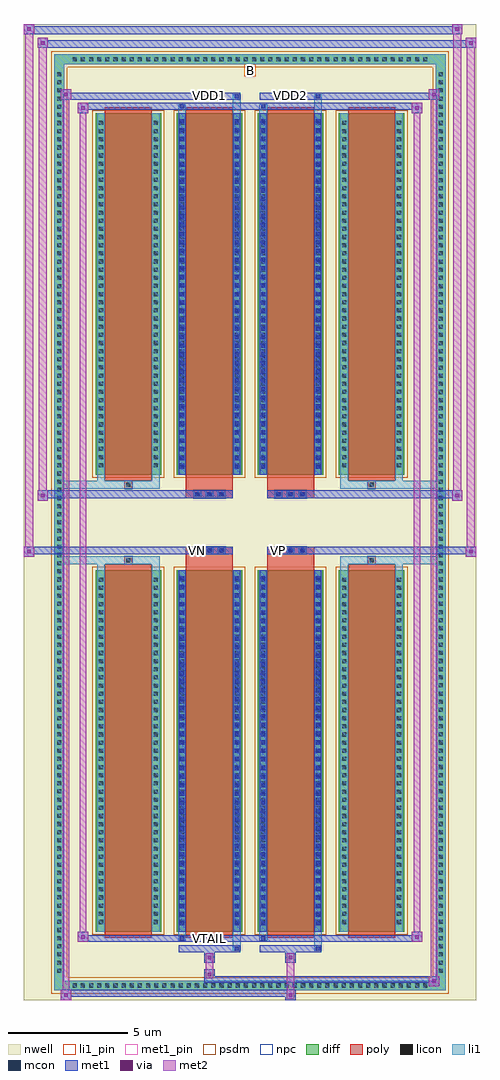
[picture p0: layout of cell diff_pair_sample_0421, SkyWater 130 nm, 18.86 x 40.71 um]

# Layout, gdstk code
import gdstk
lib = gdstk.Library(unit=1e-6, precision=5e-09)
def R(c, l, rs):  # rectangles x0, y0, x1, y1
    for r in rs: c.add(gdstk.rectangle(r[:2], r[2:], *l))
def A(c, l, x, y, w, h, nx, ny, dx, dy):  # array of equal rectangles
    R(c, l, [(x+i*dx, y+j*dy, x+i*dx+w, y+j*dy+h) for i in range(nx) for j in range(ny)])
def P(c, l, *ps):  # polygons
    for p in ps: c.add(gdstk.Polygon(p, *l))
nwell = (64, 20)
diff = (65, 20)
poly = (66, 20)
licon = (66, 44)
li1_pin = (67, 16)
li1 = (67, 20)
mcon = (67, 44)
met1_pin = (68, 16)
met1 = (68, 20)
via = (68, 44)
met2 = (69, 20)
psdm = (94, 20)
npc = (95, 20)

diff_pair_sample_0421 = lib.new_cell('diff_pair_sample_0421')
R(diff_pair_sample_0421, nwell, [(-9.43,-19.92,9.43,20.79), (-6.75,-18.11,-0.01,-0.805), (0.01,-18.11,6.75,-0.805), (-6.75,0.805,-0.01,18.11), (0.01,0.805,6.75,18.11)])
A(diff_pair_sample_0421, diff, -7.515, -19.52, 0.41, 0.41, 44, 2, 0.34, 38.63)
A(diff_pair_sample_0421, diff, -8.16, -18.905, 0.41, 0.41, 1, 111, 0, 0.34)
A(diff_pair_sample_0421, diff, 7.75, -18.905, 0.41, 0.41, 1, 111, 0, 0.34)
A(diff_pair_sample_0421, diff, -6.44, -17.065, 2.74, 15.08, 4, 2, 3.38, 19.05)
R(diff_pair_sample_0421, diff, [(-7.515,-19.52,7.515,-19.11), (-8.16,-18.905,-7.75,18.905), (7.75,-18.905,8.16,18.905), (-7.515,19.11,7.515,19.52)])
P(diff_pair_sample_0421, diff, [(8.16,19.52),(-8.16,19.52),(-8.16,-19.11),(-7.75,-19.11),(-7.75,19.11),(7.75,19.11),(7.75,-19.11),(-7.75,-19.11),(-8.16,-19.11),(-8.16,-19.52),(8.16,-19.52)])
A(diff_pair_sample_0421, poly, -6.05, -17.315, 1.96, 15.58, 4, 2, 3.38, 19.05)
A(diff_pair_sample_0421, poly, -2.355, -1.335, 0.33, 0.33, 3, 2, 0.5, 2.34)
A(diff_pair_sample_0421, poly, 1.025, -1.335, 0.33, 0.33, 3, 2, 0.5, 2.34)
R(diff_pair_sample_0421, poly, [(-5.235,-1.735,-4.905,-1.405), (-5.235,-1.735,-4.905,-1.405), (-2.67,-1.735,-0.71,-1.335), (0.71,-1.735,2.67,-1.335), (4.905,-1.735,5.235,-1.405), (4.905,-1.735,5.235,-1.405), (-2.67,-1.335,-0.71,-1.005), (0.71,-1.335,2.67,-1.005), (-2.67,1.005,-0.71,1.335), (0.71,1.005,2.67,1.335), (-2.67,1.335,-0.71,1.735), (0.71,1.335,2.67,1.735), (-5.235,1.405,-4.905,1.735), (-5.235,1.405,-4.905,1.735), (4.905,1.405,5.235,1.735), (4.905,1.405,5.235,1.735)])
A(diff_pair_sample_0421, licon, -7.395, -19.4, 0.17, 0.17, 44, 2, 0.34, 38.63)
A(diff_pair_sample_0421, licon, -8.04, -18.785, 0.17, 0.17, 1, 111, 0, 0.34)
A(diff_pair_sample_0421, licon, 7.87, -18.785, 0.17, 0.17, 1, 111, 0, 0.34)
A(diff_pair_sample_0421, licon, -6.3, -16.75, 0.17, 0.17, 1, 43, 0, 0.34)
A(diff_pair_sample_0421, licon, -4.01, -16.75, 0.17, 0.17, 1, 43, 0, 0.34)
A(diff_pair_sample_0421, licon, -2.92, -16.75, 0.17, 0.17, 1, 43, 0, 0.34)
A(diff_pair_sample_0421, licon, -0.63, -16.75, 0.17, 0.17, 1, 43, 0, 0.34)
A(diff_pair_sample_0421, licon, 0.46, -16.75, 0.17, 0.17, 1, 43, 0, 0.34)
A(diff_pair_sample_0421, licon, 2.75, -16.75, 0.17, 0.17, 1, 43, 0, 0.34)
A(diff_pair_sample_0421, licon, 3.84, -16.75, 0.17, 0.17, 1, 43, 0, 0.34)
A(diff_pair_sample_0421, licon, 6.13, -16.75, 0.17, 0.17, 1, 43, 0, 0.34)
A(diff_pair_sample_0421, licon, -2.275, -1.255, 0.17, 0.17, 3, 2, 0.5, 2.34)
A(diff_pair_sample_0421, licon, 1.105, -1.255, 0.17, 0.17, 3, 2, 0.5, 2.34)
A(diff_pair_sample_0421, licon, -6.3, 2.3, 0.17, 0.17, 1, 43, 0, 0.34)
A(diff_pair_sample_0421, licon, -4.01, 2.3, 0.17, 0.17, 1, 43, 0, 0.34)
A(diff_pair_sample_0421, licon, -2.92, 2.3, 0.17, 0.17, 1, 43, 0, 0.34)
A(diff_pair_sample_0421, licon, -0.63, 2.3, 0.17, 0.17, 1, 43, 0, 0.34)
A(diff_pair_sample_0421, licon, 0.46, 2.3, 0.17, 0.17, 1, 43, 0, 0.34)
A(diff_pair_sample_0421, licon, 2.75, 2.3, 0.17, 0.17, 1, 43, 0, 0.34)
A(diff_pair_sample_0421, licon, 3.84, 2.3, 0.17, 0.17, 1, 43, 0, 0.34)
A(diff_pair_sample_0421, licon, 6.13, 2.3, 0.17, 0.17, 1, 43, 0, 0.34)
R(diff_pair_sample_0421, licon, [(-5.155,-1.655,-4.985,-1.485), (4.985,-1.655,5.155,-1.485), (-5.155,1.485,-4.985,1.655), (4.985,1.485,5.155,1.655)])
R(diff_pair_sample_0421, li1_pin, [(-0.25,18.61,0.25,19.11)])
A(diff_pair_sample_0421, li1, -7.475, -19.48, 0.33, 0.33, 44, 2, 0.34, 38.63)
A(diff_pair_sample_0421, li1, -8.12, -18.865, 0.33, 0.33, 1, 111, 0, 0.34)
A(diff_pair_sample_0421, li1, 7.79, -18.865, 0.33, 0.33, 1, 111, 0, 0.34)
A(diff_pair_sample_0421, li1, -6.38, -16.83, 0.33, 0.33, 1, 43, 0, 0.34)
A(diff_pair_sample_0421, li1, -4.09, -16.83, 0.33, 0.33, 1, 43, 0, 0.34)
A(diff_pair_sample_0421, li1, -3, -16.83, 0.33, 0.33, 1, 43, 0, 0.34)
A(diff_pair_sample_0421, li1, -0.71, -16.83, 0.33, 0.33, 1, 43, 0, 0.34)
A(diff_pair_sample_0421, li1, 0.38, -16.83, 0.33, 0.33, 1, 43, 0, 0.34)
A(diff_pair_sample_0421, li1, 2.67, -16.83, 0.33, 0.33, 1, 43, 0, 0.34)
A(diff_pair_sample_0421, li1, 3.76, -16.83, 0.33, 0.33, 1, 43, 0, 0.34)
A(diff_pair_sample_0421, li1, 6.05, -16.83, 0.33, 0.33, 1, 43, 0, 0.34)
A(diff_pair_sample_0421, li1, -2.92, -16.81, 0.17, 0.17, 1, 41, 0, 0.36)
A(diff_pair_sample_0421, li1, -0.63, -16.81, 0.17, 0.17, 1, 41, 0, 0.36)
A(diff_pair_sample_0421, li1, 0.46, -16.81, 0.17, 0.17, 1, 41, 0, 0.36)
A(diff_pair_sample_0421, li1, 2.75, -16.81, 0.17, 0.17, 1, 41, 0, 0.36)
A(diff_pair_sample_0421, li1, -2.355, -1.335, 0.33, 0.33, 3, 2, 0.5, 2.34)
A(diff_pair_sample_0421, li1, 1.025, -1.335, 0.33, 0.33, 3, 2, 0.5, 2.34)
A(diff_pair_sample_0421, li1, -6.38, 2.22, 0.33, 0.33, 1, 43, 0, 0.34)
A(diff_pair_sample_0421, li1, -4.09, 2.22, 0.33, 0.33, 1, 43, 0, 0.34)
A(diff_pair_sample_0421, li1, -3, 2.22, 0.33, 0.33, 1, 43, 0, 0.34)
A(diff_pair_sample_0421, li1, -0.71, 2.22, 0.33, 0.33, 1, 43, 0, 0.34)
A(diff_pair_sample_0421, li1, 0.38, 2.22, 0.33, 0.33, 1, 43, 0, 0.34)
A(diff_pair_sample_0421, li1, 2.67, 2.22, 0.33, 0.33, 1, 43, 0, 0.34)
A(diff_pair_sample_0421, li1, 3.76, 2.22, 0.33, 0.33, 1, 43, 0, 0.34)
A(diff_pair_sample_0421, li1, 6.05, 2.22, 0.33, 0.33, 1, 43, 0, 0.34)
A(diff_pair_sample_0421, li1, -2.92, 2.24, 0.17, 0.17, 1, 41, 0, 0.36)
A(diff_pair_sample_0421, li1, -0.63, 2.24, 0.17, 0.17, 1, 41, 0, 0.36)
A(diff_pair_sample_0421, li1, 0.46, 2.24, 0.17, 0.17, 1, 41, 0, 0.36)
A(diff_pair_sample_0421, li1, 2.75, 2.24, 0.17, 0.17, 1, 41, 0, 0.36)
R(diff_pair_sample_0421, li1, [(-8.16,-19.52,-7.75,-19.11), (-8.16,-19.52,-7.75,-19.11), (-7.75,-19.52,7.75,-19.11), (7.75,-19.52,8.16,-19.11), (7.75,-19.52,8.16,-19.11), (-8.16,-19.11,-7.75,19.11), (7.75,-19.11,8.16,19.11), (-0.71,-17.87,-0.38,-17.065), (-0.63,-17.87,-0.46,-17.7), (2.67,-17.87,3,-17.065), (2.75,-17.87,2.92,-17.7), (-3,-17.44,-2.67,-17.065), (-2.92,-17.44,-2.75,-17.27), (0.38,-17.44,0.71,-17.065), (0.46,-17.44,0.63,-17.27), (-6.38,-17.065,-6.05,-1.985), (-4.09,-17.065,-3.76,-1.985), (-3,-17.065,-2.67,-1.985), (-0.71,-17.065,-0.38,-1.985), (0.38,-17.065,0.71,-1.985), (2.67,-17.065,3,-1.985), (3.76,-17.065,4.09,-1.985), (6.05,-17.065,6.38,-1.985), (-2.92,-16.81,-2.75,-2.24), (-0.63,-16.81,-0.46,-2.24), (0.46,-16.81,0.63,-2.24), (2.75,-16.81,2.92,-2.24), (-6.38,-1.985,-6.05,-1.405), (-4.09,-1.985,-3.76,-1.405), (3.76,-1.985,4.09,-1.405), (6.05,-1.985,6.38,-1.405), (-8.16,-1.735,-5.235,-1.405), (-6.38,-1.735,-5.235,-1.405), (-5.235,-1.735,-4.905,-1.405), (-4.905,-1.735,-3.76,-1.405), (3.76,-1.735,4.905,-1.405), (4.905,-1.735,5.235,-1.405), (4.905,-1.735,8.16,-1.405), (5.235,-1.735,6.38,-1.405), (-8.16,1.405,-5.235,1.735), (-6.38,1.405,-5.235,1.735), (-6.38,1.405,-6.05,1.985), (-5.235,1.405,-4.905,1.735), (-4.905,1.405,-3.76,1.735), (-4.09,1.405,-3.76,1.985), (3.76,1.405,4.905,1.735), (3.76,1.405,4.09,1.985), (4.905,1.405,5.235,1.735), (4.905,1.405,8.16,1.735), (5.235,1.405,6.38,1.735), (6.05,1.405,6.38,1.985), (-6.38,1.985,-6.05,17.065), (-4.09,1.985,-3.76,17.065), (-3,1.985,-2.67,17.065), (-0.71,1.985,-0.38,17.065), (0.38,1.985,0.71,17.065), (2.67,1.985,3,17.065), (3.76,1.985,4.09,17.065), (6.05,1.985,6.38,17.065), (-2.92,2.24,-2.75,16.81), (-0.63,2.24,-0.46,16.81), (0.46,2.24,0.63,16.81), (2.75,2.24,2.92,16.81), (-3,17.065,-2.67,17.44), (-0.71,17.065,-0.38,17.87), (0.38,17.065,0.71,17.44), (2.67,17.065,3,17.87), (-2.92,17.27,-2.75,17.44), (0.46,17.27,0.63,17.44), (-0.63,17.7,-0.46,17.87), (2.75,17.7,2.92,17.87), (-8.16,19.11,-7.75,19.52), (-8.16,19.11,-7.75,19.52), (-7.75,19.11,7.75,19.52), (7.75,19.11,8.16,19.52), (7.75,19.11,8.16,19.52)])
A(diff_pair_sample_0421, mcon, -2.92, -16.81, 0.17, 0.17, 1, 41, 0, 0.36)
A(diff_pair_sample_0421, mcon, -0.63, -16.81, 0.17, 0.17, 1, 41, 0, 0.36)
A(diff_pair_sample_0421, mcon, 0.46, -16.81, 0.17, 0.17, 1, 41, 0, 0.36)
A(diff_pair_sample_0421, mcon, 2.75, -16.81, 0.17, 0.17, 1, 41, 0, 0.36)
A(diff_pair_sample_0421, mcon, -2.275, -1.255, 0.17, 0.17, 3, 2, 0.5, 2.34)
A(diff_pair_sample_0421, mcon, 1.105, -1.255, 0.17, 0.17, 3, 2, 0.5, 2.34)
A(diff_pair_sample_0421, mcon, -2.92, 2.24, 0.17, 0.17, 1, 41, 0, 0.36)
A(diff_pair_sample_0421, mcon, -0.63, 2.24, 0.17, 0.17, 1, 41, 0, 0.36)
A(diff_pair_sample_0421, mcon, 0.46, 2.24, 0.17, 0.17, 1, 41, 0, 0.36)
A(diff_pair_sample_0421, mcon, 2.75, 2.24, 0.17, 0.17, 1, 41, 0, 0.36)
R(diff_pair_sample_0421, mcon, [(-0.63,-17.87,-0.46,-17.7), (2.75,-17.87,2.92,-17.7), (-2.92,-17.44,-2.75,-17.27), (0.46,-17.44,0.63,-17.27), (-2.92,17.27,-2.75,17.44), (0.46,17.27,0.63,17.44), (-0.63,17.7,-0.46,17.87), (2.75,17.7,2.92,17.87)])
R(diff_pair_sample_0421, met1_pin, [(-1.825,-17.48,-1.555,-17.21), (-2.325,-1.295,-2.055,-1.025), (1.055,-1.295,1.325,-1.025), (-1.825,17.66,-1.555,17.93), (1.555,17.66,1.825,17.93)])
A(diff_pair_sample_0421, met1, -2.98, -16.87, 0.29, 0.29, 1, 41, 0, 0.36)
A(diff_pair_sample_0421, met1, -0.69, -16.87, 0.29, 0.29, 1, 41, 0, 0.36)
A(diff_pair_sample_0421, met1, 0.4, -16.87, 0.29, 0.29, 1, 41, 0, 0.36)
A(diff_pair_sample_0421, met1, 2.69, -16.87, 0.29, 0.29, 1, 41, 0, 0.36)
A(diff_pair_sample_0421, met1, -2.335, -1.315, 0.29, 0.29, 3, 2, 0.5, 2.34)
A(diff_pair_sample_0421, met1, 1.045, -1.315, 0.29, 0.29, 3, 2, 0.5, 2.34)
A(diff_pair_sample_0421, met1, -2.98, 2.18, 0.29, 0.29, 1, 41, 0, 0.36)
A(diff_pair_sample_0421, met1, -0.69, 2.18, 0.29, 0.29, 1, 41, 0, 0.36)
A(diff_pair_sample_0421, met1, 0.4, 2.18, 0.29, 0.29, 1, 41, 0, 0.36)
A(diff_pair_sample_0421, met1, 2.69, 2.18, 0.29, 0.29, 1, 41, 0, 0.36)
R(diff_pair_sample_0421, met1, [(-7.89,-19.92,-7.46,-19.49), (1.475,-19.92,1.905,-19.49), (-7.89,-19.78,1.905,-19.49), (7.46,-19.35,7.89,-18.92), (-1.905,-19.21,7.89,-18.92), (-1.905,-19.07,-1.475,-18.64), (-1.905,-18.36,-1.475,-17.93), (1.475,-18.36,1.905,-17.93), (-2.98,-17.93,-0.4,-17.64), (-0.69,-17.93,-0.4,-17.64), (0.4,-17.93,2.98,-17.64), (2.69,-17.93,2.98,-17.64), (-7.18,-17.5,-6.75,-17.07), (-7.18,-17.5,-2.98,-17.21), (-2.98,-17.5,-2.69,-17.21), (-2.98,-17.5,-0.4,-17.21), (-0.4,-17.5,0.4,-17.21), (0.4,-17.5,0.69,-17.21), (0.4,-17.5,2.98,-17.21), (2.98,-17.5,7.18,-17.21), (6.75,-17.5,7.18,-17.07), (-2.98,-17.065,-2.69,-1.985), (-0.69,-17.065,-0.4,-1.985), (0.4,-17.065,0.69,-1.985), (2.69,-17.065,2.98,-1.985), (-9.43,-1.435,-9,-1.005), (9,-1.435,9.43,-1.005), (-9.43,-1.335,-0.71,-1.005), (-2.67,-1.335,-0.71,-1.005), (0.71,-1.335,2.67,-1.005), (0.71,-1.335,9.43,-1.005), (-8.86,0.905,-8.43,1.335), (8.43,0.905,8.86,1.335), (-8.86,1.005,-2.67,1.335), (-2.67,1.005,-0.71,1.335), (0.71,1.005,2.67,1.335), (2.67,1.005,8.86,1.335), (-2.98,1.985,-2.69,17.065), (-0.69,1.985,-0.4,17.065), (0.4,1.985,0.69,17.065), (2.69,1.985,2.98,17.065), (-7.18,17.07,-6.75,17.5), (6.75,17.07,7.18,17.5), (-7.18,17.21,-2.98,17.5), (-2.98,17.21,-2.69,17.5), (-2.98,17.21,-0.4,17.5), (-0.4,17.21,0.4,17.5), (0.4,17.21,0.69,17.5), (0.4,17.21,2.98,17.5), (2.98,17.21,7.18,17.5), (-7.89,17.64,-7.46,18.07), (-7.89,17.64,-2.98,17.93), (-2.98,17.64,-0.4,17.93), (-0.69,17.64,-0.4,17.93), (0.4,17.64,2.98,17.93), (2.69,17.64,2.98,17.93), (2.98,17.64,7.89,17.93), (7.46,17.64,7.89,18.07), (-8.86,19.79,-8.43,20.22), (-8.86,19.79,-6.75,20.12), (-6.75,19.79,6.75,20.12), (6.75,19.79,9.43,20.12), (9,19.79,9.43,20.22), (-9.43,20.36,-9,20.79), (-9.43,20.36,-6.75,20.69), (-6.75,20.36,6.75,20.69), (6.75,20.36,8.86,20.69), (8.43,20.36,8.86,20.79)])
R(diff_pair_sample_0421, via, [(-7.75,-19.78,-7.6,-19.63), (1.615,-19.78,1.765,-19.63), (7.6,-19.21,7.75,-19.06), (-1.765,-18.93,-1.615,-18.78), (-1.765,-18.22,-1.615,-18.07), (1.615,-18.22,1.765,-18.07), (-7.04,-17.36,-6.89,-17.21), (6.89,-17.36,7.04,-17.21), (-9.29,-1.295,-9.14,-1.145), (9.14,-1.295,9.29,-1.145), (-8.72,1.045,-8.57,1.195), (8.57,1.045,8.72,1.195), (-7.04,17.21,-6.89,17.36), (6.89,17.21,7.04,17.36), (-7.75,17.78,-7.6,17.93), (7.6,17.78,7.75,17.93), (-8.72,19.93,-8.57,20.08), (9.14,19.93,9.29,20.08), (-9.29,20.5,-9.14,20.65), (8.57,20.5,8.72,20.65)])
R(diff_pair_sample_0421, met2, [(-7.89,-19.92,-7.46,-19.49), (-7.82,-19.92,-7.53,18.07), (-7.53,-19.92,-7.46,-19.49), (-7.84,-19.87,-7.51,-19.54), (1.525,-19.87,1.855,-19.54), (1.525,-19.54,1.855,-18.31), (7.46,-19.35,7.89,-18.92), (7.53,-19.35,7.82,18.07), (7.82,-19.35,7.89,-18.92), (7.51,-19.3,7.84,-18.97), (-1.855,-19.02,-1.525,-18.69), (-1.855,-18.69,-1.525,-18.31), (-1.855,-18.31,-1.525,-17.98), (1.525,-18.31,1.855,-17.98), (-7.18,-17.5,-6.75,-17.07), (-7.11,-17.5,-6.82,17.5), (-6.82,-17.5,-6.75,-17.07), (6.75,-17.5,7.18,-17.07), (6.82,-17.5,7.11,17.5), (7.11,-17.5,7.18,-17.07), (-7.13,-17.45,-6.8,-17.12), (6.8,-17.45,7.13,-17.12), (-9.43,-1.435,-9,-1.005), (-9.38,-1.435,-9.05,20.79), (-9.05,-1.435,-9,-1.005), (9,-1.435,9.43,-1.005), (9.05,-1.435,9.38,20.22), (9.38,-1.435,9.43,-1.005), (-9.38,-1.385,-9.05,-1.055), (9.05,-1.385,9.38,-1.055), (-8.86,0.905,-8.43,1.335), (-8.81,0.905,-8.48,20.22), (-8.48,0.905,-8.43,1.335), (8.43,0.905,8.86,1.335), (8.48,0.905,8.81,20.79), (8.81,0.905,8.86,1.335), (-8.81,0.955,-8.48,1.285), (8.48,0.955,8.81,1.285), (-7.18,17.07,-6.75,17.5), (-6.82,17.07,-6.75,17.5), (6.75,17.07,7.18,17.5), (7.11,17.07,7.18,17.5), (-7.13,17.12,-6.8,17.45), (6.8,17.12,7.13,17.45), (-7.89,17.64,-7.46,18.07), (-7.53,17.64,-7.46,18.07), (7.46,17.64,7.89,18.07), (7.82,17.64,7.89,18.07), (-7.84,17.69,-7.51,18.02), (7.51,17.69,7.84,18.02), (-8.86,19.79,-8.43,20.22), (-8.48,19.79,-8.43,20.22), (9,19.79,9.43,20.22), (9.38,19.79,9.43,20.22), (-8.81,19.84,-8.48,20.17), (9.05,19.84,9.38,20.17), (-9.43,20.36,-9,20.79), (-9.05,20.36,-9,20.79), (8.43,20.36,8.86,20.79), (8.81,20.36,8.86,20.79), (-9.38,20.41,-9.05,20.74), (8.48,20.41,8.81,20.74)])
A(diff_pair_sample_0421, psdm, -6.57, -17.195, 3, 15.34, 4, 2, 3.38, 19.05)
P(diff_pair_sample_0421, psdm, [(8.29,19.65),(-8.29,19.65),(-8.29,-18.98),(-7.62,-18.98),(-7.62,18.98),(7.62,18.98),(7.62,-18.98),(-7.62,-18.98),(-8.29,-18.98),(-8.29,-19.65),(8.29,-19.65)])
A(diff_pair_sample_0421, npc, -2.375, -1.355, 0.37, 0.37, 3, 2, 0.5, 2.34)
A(diff_pair_sample_0421, npc, 1.005, -1.355, 0.37, 0.37, 3, 2, 0.5, 2.34)
R(diff_pair_sample_0421, npc, [(-5.255,-1.755,-4.885,-1.385), (4.885,-1.755,5.255,-1.385), (-2.375,-1.355,-1.505,-0.985), (-2.375,-1.355,-1.505,-0.985), (-1.875,-1.355,-1.005,-0.985), (-1.875,-1.355,-1.005,-0.985), (1.005,-1.355,1.875,-0.985), (1.005,-1.355,1.875,-0.985), (1.505,-1.355,2.375,-0.985), (1.505,-1.355,2.375,-0.985), (-2.375,0.985,-1.505,1.355), (-2.375,0.985,-1.505,1.355), (-1.875,0.985,-1.005,1.355), (-1.875,0.985,-1.005,1.355), (1.005,0.985,1.875,1.355), (1.005,0.985,1.875,1.355), (1.505,0.985,2.375,1.355), (1.505,0.985,2.375,1.355), (-5.255,1.385,-4.885,1.755), (4.885,1.385,5.255,1.755)])
diff_pair_sample_0421.add(gdstk.Label('VTAIL', (-1.69,-17.345), layer=68, texttype=5))
diff_pair_sample_0421.add(gdstk.Label('VN', (-2.19,-1.16), layer=68, texttype=5))
diff_pair_sample_0421.add(gdstk.Label('VP', (1.19,-1.16), layer=68, texttype=5))
diff_pair_sample_0421.add(gdstk.Label('B', (0,18.86), layer=67, texttype=5))
diff_pair_sample_0421.add(gdstk.Label('VDD2', (1.69,17.795), layer=68, texttype=5))
diff_pair_sample_0421.add(gdstk.Label('VDD1', (-1.69,17.795), layer=68, texttype=5))

lib.write_gds('diff_pair_sample_0421.gds')
